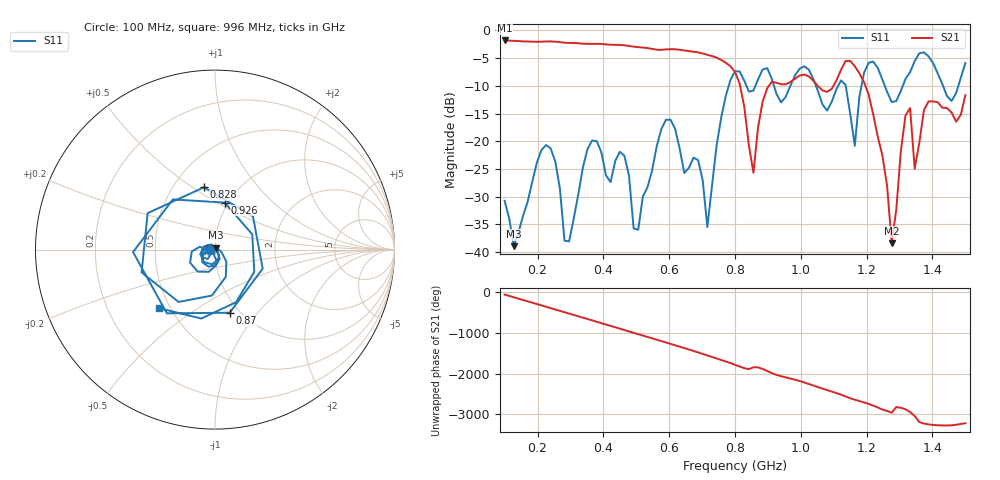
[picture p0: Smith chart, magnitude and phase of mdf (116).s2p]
! NanoVNA-App
! Date: 2025-09-25 15:39:19
! Start: 100MHz Stop: 1,5GHz Points: 101
! S-Parameter data: F S11 S21 S12 S22
# Hz S RI R 50
!  Frequency  S11_Real  S11_Imag  S21_Real  S21_Imag  S12_Real  S12_Imag  S22_Real  S22_Imag
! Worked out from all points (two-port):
!   101 points, 100 MHz to 1.5 GHz, reference 50 ohm
!   highest |S21| = -1.80 dB at 100 MHz (marker M1); lowest = -38.4 dB at 1.276 GHz (marker M2)
!   |S21| within 3 dB of the highest: start of sweep to 739.2 MHz
!   lowest |S11| = -39.0 dB at 128 MHz (marker M3), VSWR 1.02, Z = 50.3 + j1.08 ohm
!   |S11| at or under -10 dB: start of sweep to 781 MHz; 918.5 MHz to 968.1 MHz (49.65 MHz wide, 5.26 % of centre); 1.046 GHz to 1.113 GHz (67.58 MHz wide, 6.26 % of centre) (the widest 3 of 7)
!   S12 and S22 are empty: the file has one direction only
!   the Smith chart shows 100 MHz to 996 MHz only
!   S11 on the Smith chart (normalised r, x): 100 MHz: 0.94, -0.01; 828 MHz: 0.70, +0.56; 870 MHz: 0.90, -0.73; 926 MHz: 0.96, +0.54; 996 MHz: 0.44, -0.36
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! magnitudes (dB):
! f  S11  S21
! 100 MHz  -30.8  -1.8
! 128 MHz  -39.0  -1.9
! 212 MHz  -21.6  -2.0
! 282 MHz  -38.0  -2.2
! 338 MHz  -24.7  -2.4
! 464 MHz  -22.6  -2.7
! 506 MHz  -36.0  -3.0
! 576 MHz  -17.8  -3.5
! 716 MHz  -35.5  -4.4
! 800 MHz  -7.4  -7.5
! 828 MHz  -9.1  -13.7
! 856 MHz  -10.9  -25.7
! 870 MHz  -8.8  -17.5
! 926 MHz  -11.5  -9.5
! 996 MHz  -6.9  -8.2
! 1.038 GHz  -8.8  -9.1
! 1.164 GHz  -20.8  -6.4
! 1.192 GHz  -7.7  -9.3
! 1.276 GHz  -12.9  -38.4
! 1.318 GHz  -8.7  -15.3
! 1.346 GHz  -5.5  -25.0
! 1.5 GHz  -5.9  -11.7
